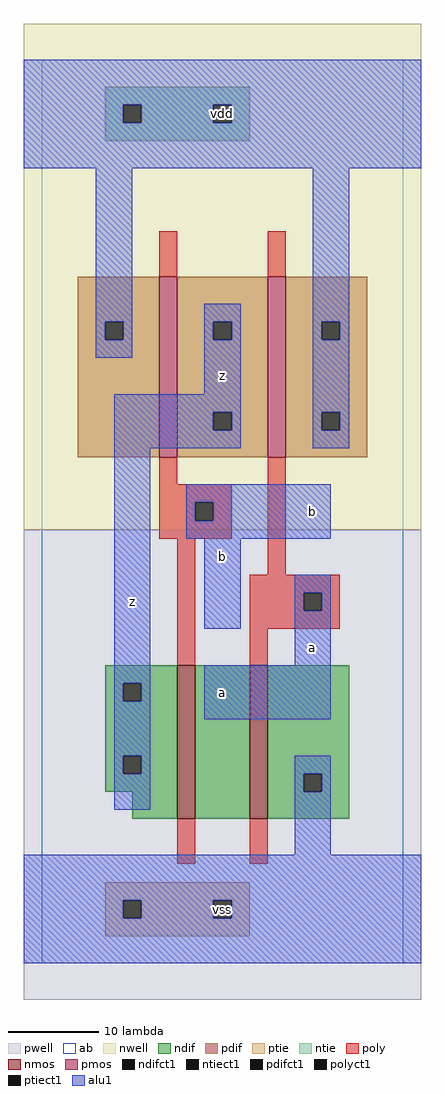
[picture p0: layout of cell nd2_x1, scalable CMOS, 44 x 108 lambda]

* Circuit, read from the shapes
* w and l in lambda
.subckt nd2_x1 a b vdd vss z
M1 n1 b z vss nfet w=17 l=2
M2 vss a n1 vss nfet w=17 l=2
M3 z b vdd vdd pfet w=20 l=2
M4 vdd a z vdd pfet w=20 l=2
.ends

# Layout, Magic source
magic
tech scmos
<< ab >>
rect 0 0 40 100
<< nwell >>
rect -2 48 42 104
<< pwell >>
rect -2 -4 42 48
<< poly >>
rect 13 76 15 81
rect 25 76 27 81
rect 13 53 15 56
rect 13 51 21 53
rect 13 49 17 51
rect 19 49 21 51
rect 13 47 21 49
rect 15 33 17 47
rect 25 43 27 56
rect 23 41 33 43
rect 23 39 29 41
rect 31 39 33 41
rect 23 37 33 39
rect 23 33 25 37
rect 15 11 17 16
rect 23 11 25 16
<< ndif >>
rect 7 31 15 33
rect 7 29 9 31
rect 11 29 15 31
rect 7 23 15 29
rect 7 21 9 23
rect 11 21 15 23
rect 7 19 15 21
rect 10 16 15 19
rect 17 16 23 33
rect 25 21 34 33
rect 25 19 29 21
rect 31 19 34 21
rect 25 16 34 19
<< pdif >>
rect 4 71 13 76
rect 4 69 7 71
rect 9 69 13 71
rect 4 56 13 69
rect 15 71 25 76
rect 15 69 19 71
rect 21 69 25 71
rect 15 61 25 69
rect 15 59 19 61
rect 21 59 25 61
rect 15 56 25 59
rect 27 71 36 76
rect 27 69 31 71
rect 33 69 36 71
rect 27 61 36 69
rect 27 59 31 61
rect 33 59 36 61
rect 27 56 36 59
<< alu1 >>
rect -2 95 42 100
rect -2 93 9 95
rect 11 93 19 95
rect 21 93 42 95
rect -2 88 42 93
rect 6 71 10 88
rect 6 69 7 71
rect 9 69 10 71
rect 6 67 10 69
rect 18 71 22 73
rect 18 69 19 71
rect 21 69 22 71
rect 18 63 22 69
rect 8 61 22 63
rect 8 59 19 61
rect 21 59 22 61
rect 8 57 22 59
rect 30 71 34 88
rect 30 69 31 71
rect 33 69 34 71
rect 30 61 34 69
rect 30 59 31 61
rect 33 59 34 61
rect 30 57 34 59
rect 8 31 12 57
rect 16 51 32 53
rect 16 49 17 51
rect 19 49 32 51
rect 16 47 32 49
rect 18 37 22 47
rect 28 41 32 43
rect 28 39 29 41
rect 31 39 32 41
rect 28 33 32 39
rect 8 29 9 31
rect 11 29 12 31
rect 8 23 12 29
rect 18 27 32 33
rect 8 21 9 23
rect 11 21 12 23
rect 8 17 12 21
rect 28 21 32 23
rect 28 19 29 21
rect 31 19 32 21
rect 28 12 32 19
rect -2 7 42 12
rect -2 5 9 7
rect 11 5 19 7
rect 21 5 42 7
rect -2 0 42 5
<< ptie >>
rect 7 7 23 9
rect 7 5 9 7
rect 11 5 19 7
rect 21 5 23 7
rect 7 3 23 5
<< ntie >>
rect 7 95 23 97
rect 7 93 9 95
rect 11 93 19 95
rect 21 93 23 95
rect 7 91 23 93
<< nmos >>
rect 15 16 17 33
rect 23 16 25 33
<< pmos >>
rect 13 56 15 76
rect 25 56 27 76
<< polyct1 >>
rect 17 49 19 51
rect 29 39 31 41
<< ndifct1 >>
rect 9 29 11 31
rect 9 21 11 23
rect 29 19 31 21
<< ntiect1 >>
rect 9 93 11 95
rect 19 93 21 95
<< ptiect1 >>
rect 9 5 11 7
rect 19 5 21 7
<< pdifct1 >>
rect 7 69 9 71
rect 19 69 21 71
rect 19 59 21 61
rect 31 69 33 71
rect 31 59 33 61
<< labels >>
rlabel alu1 10 40 10 40 6 z
rlabel ptiect1 20 6 20 6 6 vss
rlabel alu1 20 30 20 30 6 a
rlabel alu1 20 45 20 45 6 b
rlabel alu1 20 65 20 65 6 z
rlabel ntiect1 20 94 20 94 6 vdd
rlabel alu1 30 35 30 35 6 a
rlabel alu1 30 50 30 50 6 b
<< end >>
